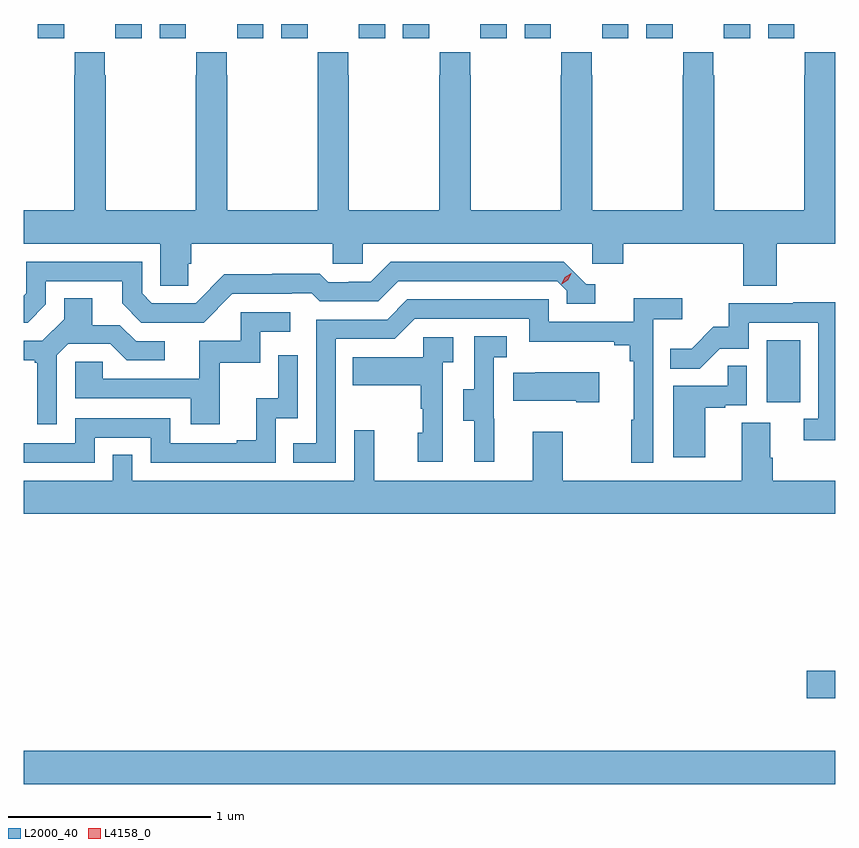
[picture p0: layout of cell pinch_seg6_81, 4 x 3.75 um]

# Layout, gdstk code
import gdstk
lib = gdstk.Library(unit=1e-6, precision=1e-09)
def R(c, l, rs):  # rectangles x0, y0, x1, y1
    for r in rs: c.add(gdstk.rectangle(r[:2], r[2:], *l))
def P(c, l, *ps):  # polygons
    for p in ps: c.add(gdstk.Polygon(p, *l))
L2000_40 = (2000, 40)
L4158_0 = (4158, 0)

pinch_seg6_81 = lib.new_cell('pinch_seg6_81')
R(pinch_seg6_81, L2000_40, [(948.023,930.02,952.023,930.184), (951.882,930.443,952.023,930.578), (951.686,931.902,951.85,932.209), (948.092,933.696,948.222,933.767), (948.474,933.696,948.604,933.767), (948.692,933.696,948.822,933.767), (949.074,933.696,949.204,933.767), (949.292,933.696,949.422,933.767), (949.674,933.696,949.804,933.767), (949.892,933.696,950.022,933.767), (950.274,933.696,950.404,933.767), (950.492,933.696,950.622,933.767), (950.874,933.696,951.004,933.767), (951.092,933.696,951.222,933.767), (951.474,933.696,951.604,933.767), (951.692,933.696,951.822,933.767)])
P(pinch_seg6_81, L2000_40, [(950.826,932.586),(950.978,932.586),(950.978,932.684),(951.569,932.684),(951.569,932.476),(951.734,932.476),(951.734,932.684),(952.023,932.684),(952.023,933.628),(951.873,933.628),(951.873,933.515),(951.871,933.515),(951.871,932.848),(951.426,932.848),(951.426,933.515),(951.423,933.515),(951.423,933.628),(951.273,933.628),(951.273,933.515),(951.271,933.515),(951.271,932.848),(950.826,932.848),(950.826,933.515),(950.823,933.515),(950.823,933.628),(950.673,933.628),(950.673,933.515),(950.671,933.515),(950.671,932.848),(950.226,932.848),(950.226,933.515),(950.223,933.515),(950.223,933.628),(950.073,933.628),(950.073,933.515),(950.071,933.515),(950.071,932.848),(949.626,932.848),(949.626,933.515),(949.623,933.515),(949.623,933.628),(949.473,933.628),(949.473,933.515),(949.471,933.515),(949.471,932.848),(949.026,932.848),(949.026,933.515),(949.023,933.515),(949.023,933.628),(948.873,933.628),(948.873,933.515),(948.871,933.515),(948.871,932.848),(948.426,932.848),(948.426,933.515),(948.423,933.515),(948.423,933.628),(948.273,933.628),(948.273,933.515),(948.271,933.515),(948.271,932.848),(948.023,932.848),(948.023,932.684),(948.696,932.684),(948.696,932.476),(948.833,932.476),(948.833,932.586),(948.848,932.586),(948.848,932.684),(949.545,932.684),(949.545,932.586),(949.695,932.586),(949.695,932.684),(950.826,932.684)],
  [(948.132,932.385),(948.132,932.499),(948.509,932.499),(948.509,932.389),(948.603,932.295),(948.909,932.295),(949.05,932.436),(949.343,932.436),(949.343,932.439),(949.442,932.439),(949.481,932.4),(949.77,932.4),(949.869,932.499),(950.652,932.499),(950.7,932.451),(950.7,932.388),(950.839,932.388),(950.839,932.484),(950.796,932.484),(950.685,932.595),(949.832,932.595),(949.733,932.496),(949.626,932.496),(949.626,932.493),(949.523,932.493),(949.481,932.536),(949.248,932.536),(949.248,932.533),(949.012,932.533),(948.87,932.391),(948.654,932.391),(948.606,932.439),(948.606,932.595),(948.036,932.595),(948.036,932.439),(948.023,932.426),(948.023,932.295),(948.042,932.295)],
  [(948.186,932.133),(948.243,932.19),(948.449,932.19),(948.53,932.109),(948.718,932.109),(948.718,932.202),(948.576,932.202),(948.496,932.282),(948.361,932.282),(948.361,932.414),(948.221,932.414),(948.221,932.312),(948.114,932.205),(948.023,932.205),(948.023,932.108),(948.078,932.108),(948.078,932.097),(948.089,932.097),(948.089,931.794),(948.186,931.794)],
  [(949.56,932.214),(949.851,932.214),(949.95,932.313),(950.514,932.313),(950.514,932.201),(950.933,932.201),(950.933,932.182),(951.01,932.182),(951.01,932.105),(951.029,932.105),(951.029,931.817),(951.018,931.817),(951.018,931.605),(951.126,931.605),(951.126,932.312),(951.268,932.312),(951.268,932.414),(951.029,932.414),(951.029,932.298),(950.61,932.298),(950.61,932.409),(949.913,932.409),(949.814,932.31),(949.464,932.31),(949.464,931.701),(949.351,931.701),(949.351,931.605),(949.56,931.605)],
  [(952.023,932.396),(951.817,932.396),(951.817,932.391),(951.499,932.391),(951.499,932.274),(951.422,932.274),(951.315,932.167),(951.211,932.167),(951.211,932.068),(951.355,932.068),(951.453,932.166),(951.597,932.166),(951.597,932.295),(951.939,932.295),(951.939,931.821),(951.867,931.821),(951.867,931.716),(952.023,931.716)],
  [(948.989,932.097),(949.188,932.097),(949.188,932.25),(949.336,932.25),(949.336,932.346),(949.092,932.346),(949.092,932.205),(948.887,932.205),(948.887,932.019),(948.413,932.019),(948.413,932.103),(948.276,932.103),(948.276,931.923),(948.845,931.923),(948.845,931.794),(948.989,931.794)],
  [(950.342,931.821),(950.34,931.821),(950.34,932.125),(950.404,932.125),(950.404,932.228),(950.244,932.228),(950.244,931.965),(950.189,931.965),(950.189,931.81),(950.243,931.81),(950.243,931.608),(950.342,931.608)],
  [(950.088,932.099),(950.14,932.099),(950.14,932.223),(949.992,932.223),(949.992,932.125),(949.645,932.125),(949.645,931.985),(949.98,931.985),(949.98,931.871),(949.99,931.871),(949.99,931.752),(949.964,931.752),(949.964,931.608),(950.088,931.608)],
  [(948.372,931.728),(948.648,931.728),(948.648,931.605),(949.266,931.605),(949.266,931.824),(949.374,931.824),(949.374,932.134),(949.278,932.134),(949.278,931.922),(949.169,931.922),(949.169,931.714),(949.073,931.714),(949.073,931.701),(948.744,931.701),(948.744,931.824),(948.276,931.824),(948.276,931.701),(948.023,931.701),(948.023,931.605),(948.372,931.605)],
  [(951.382,931.875),(951.482,931.875),(951.482,931.887),(951.588,931.887),(951.588,932.081),(951.493,932.081),(951.493,931.983),(951.224,931.983),(951.224,931.632),(951.382,931.632)],
  [(950.86,932.05),(950.545,932.05),(950.545,932.047),(950.437,932.047),(950.437,931.91),(950.747,931.91),(950.747,931.903),(950.86,931.903)],
  [(952.023,931.516),(951.716,931.516),(951.716,931.628),(951.703,931.628),(951.703,931.802),(951.563,931.802),(951.563,931.516),(950.679,931.516),(950.679,931.756),(950.531,931.756),(950.531,931.516),(949.751,931.516),(949.751,931.765),(949.653,931.765),(949.653,931.516),(948.558,931.516),(948.558,931.643),(948.462,931.643),(948.462,931.516),(948.023,931.516),(948.023,931.352),(952.023,931.352)])
P(pinch_seg6_81, L4158_0, [(950.676,932.485),(950.676,932.486),(950.691,932.518),(950.721,932.538),(950.722,932.538),(950.722,932.538),(950.706,932.505),(950.676,932.485)])

lib.write_gds('pinch_seg6_81.gds')
